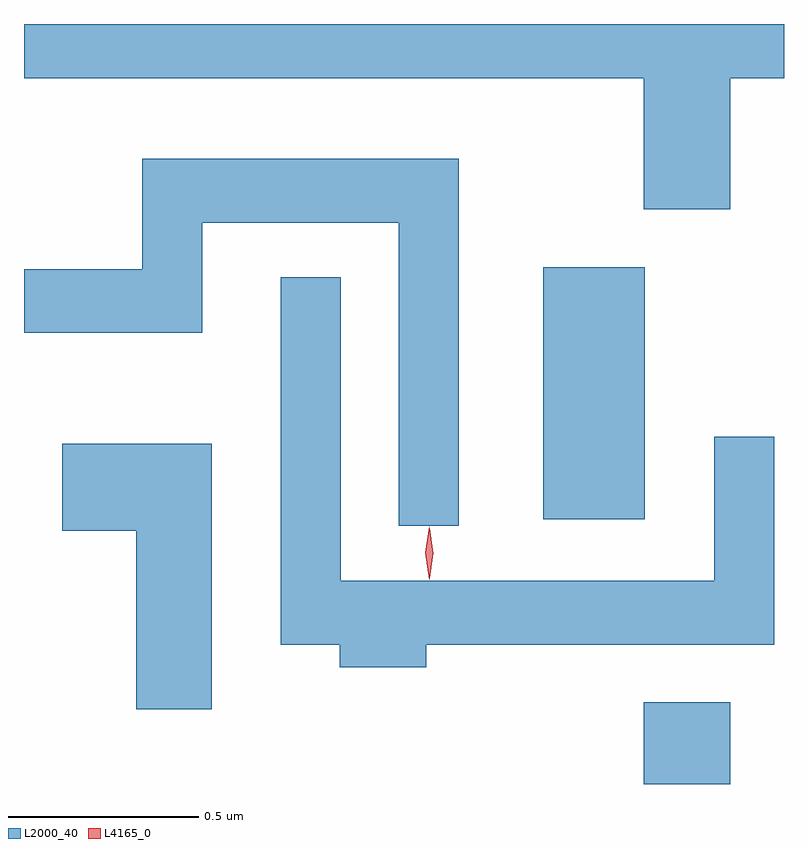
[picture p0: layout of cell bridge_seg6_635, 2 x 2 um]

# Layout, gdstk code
import gdstk
lib = gdstk.Library(unit=1e-6, precision=1e-09)
def R(c, l, rs):  # rectangles x0, y0, x1, y1
    for r in rs: c.add(gdstk.rectangle(r[:2], r[2:], *l))
def P(c, l, *ps):  # polygons
    for p in ps: c.add(gdstk.Polygon(p, *l))
L2000_40 = (2000, 40)
L4165_0 = (4165, 0)

bridge_seg6_635 = lib.new_cell('bridge_seg6_635')
R(bridge_seg6_635, L2000_40, [(545.191,1605.899,545.419,1606.114), (544.926,1606.596,545.194,1607.259)])
P(bridge_seg6_635, L2000_40, [(545.419,1607.756),(545.56,1607.756),(545.56,1607.899),(543.56,1607.899),(543.56,1607.756),(545.191,1607.756),(545.191,1607.411),(545.419,1607.411)],
  [(544.704,1607.544),(543.871,1607.544),(543.871,1607.254),(543.56,1607.254),(543.56,1607.086),(544.029,1607.086),(544.029,1607.376),(544.546,1607.376),(544.546,1606.578),(544.704,1606.578)],
  [(544.619,1606.266),(545.534,1606.266),(545.534,1606.813),(545.376,1606.813),(545.376,1606.434),(544.394,1606.434),(544.394,1607.233),(544.236,1607.233),(544.236,1606.266),(544.391,1606.266),(544.391,1606.206),(544.619,1606.206)],
  [(544.054,1606.794),(543.661,1606.794),(543.661,1606.566),(543.856,1606.566),(543.856,1606.096),(544.054,1606.096)])
P(bridge_seg6_635, L4165_0, [(544.628,1606.439),(544.627,1606.44),(544.618,1606.506),(544.627,1606.572),(544.627,1606.573),(544.628,1606.572),(544.637,1606.506),(544.628,1606.44)],
  [(544.626,1606.437),(544.626,1606.437),(544.616,1606.507),(544.626,1606.576),(544.626,1606.576),(544.627,1606.576),(544.636,1606.507),(544.627,1606.437)])

lib.write_gds('bridge_seg6_635.gds')
